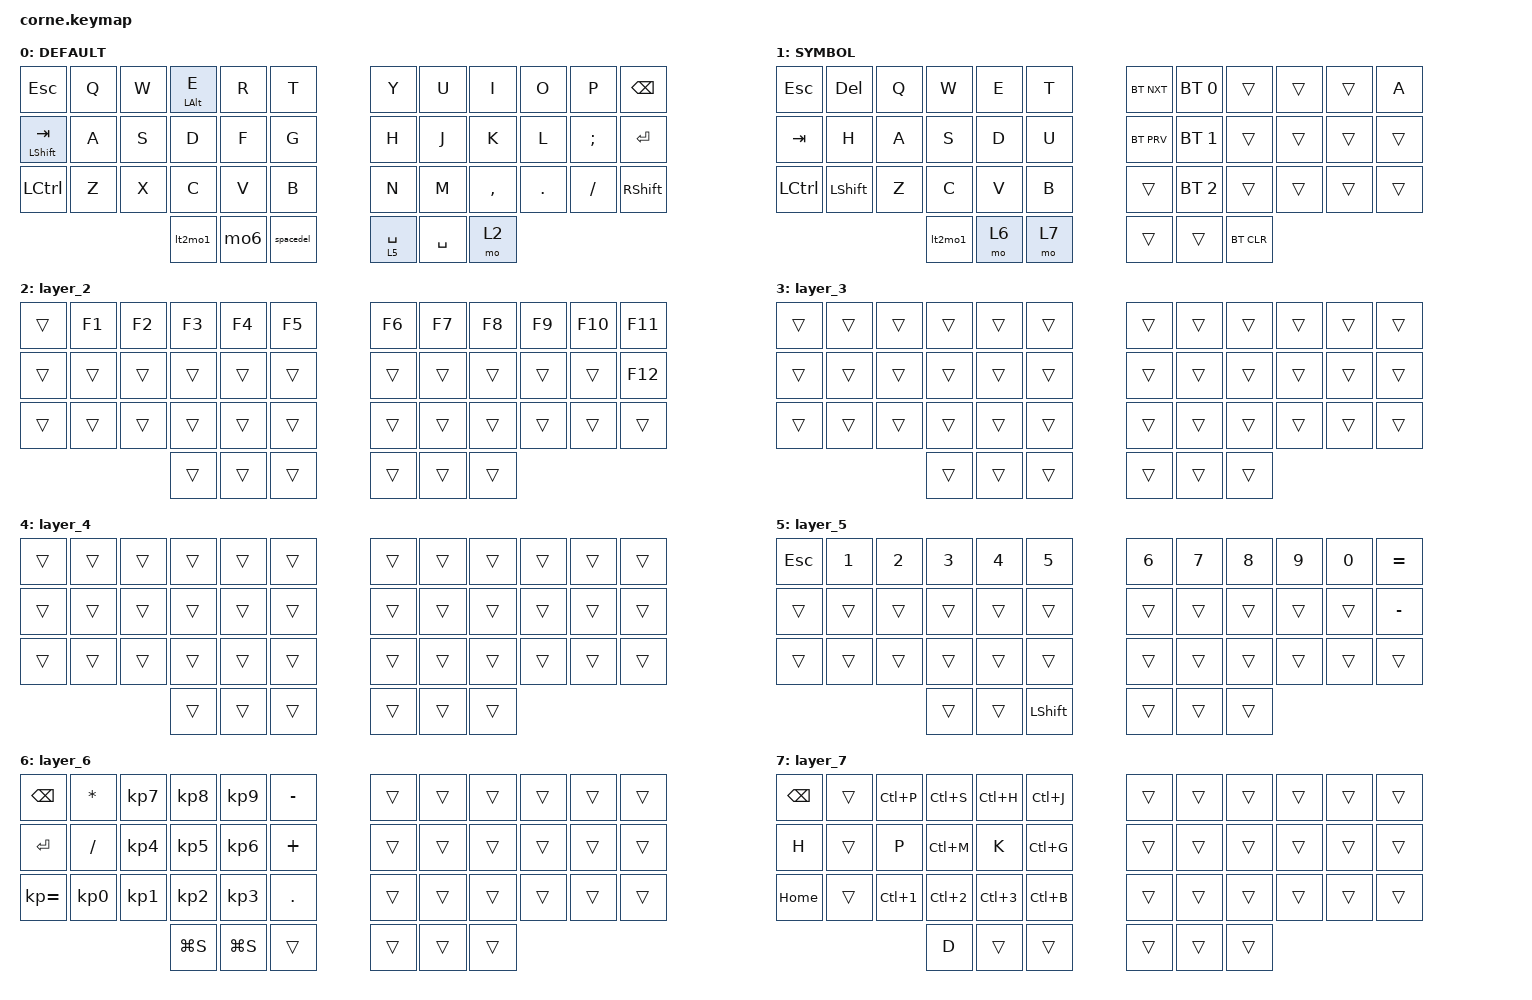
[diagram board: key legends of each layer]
/*
 * Copyright (c) 2020 The ZMK Contributors
 *
 * SPDX-License-Identifier: MIT
 */

#include <behaviors.dtsi>
#include <dt-bindings/zmk/bt.h>
#include <dt-bindings/zmk/keys.h>

#define DEFAULT 0
#define SYMBOL  1
#define NUMBER  2
#define SETTING 3

/ {
    combos {
        compatible = "zmk,combos";

        rt {
            bindings = <&kp LEFT_PARENTHESIS>;
            key-positions = <4 5>;
            layers = <0>;
            timeout-ms = <50>;
        };

        yu {
            bindings = <&kp RIGHT_PARENTHESIS>;
            key-positions = <6 7>;
            layers = <0>;
            timeout-ms = <50>;
        };

        fg {
            bindings = <&kp LEFT_BRACKET>;
            key-positions = <16 17>;
            layers = <0>;
            timeout-ms = <50>;
        };

        hj {
            bindings = <&kp RIGHT_BRACKET>;
            key-positions = <18 19>;
            layers = <0>;
            timeout-ms = <50>;
        };

        vb {
            bindings = <&kp LEFT_BRACE>;
            key-positions = <28 29>;
            layers = <0>;
            timeout-ms = <50>;
        };

        nm {
            bindings = <&kp RIGHT_BRACE>;
            key-positions = <30 31>;
            layers = <0>;
            timeout-ms = <50>;
        };

        cv {
            bindings = <&kp PIPE>;
            key-positions = <27 28>;
            layers = <0>;
            timeout-ms = <50>;
        };

        m_ {
            bindings = <&kp BSLH>;
            key-positions = <31 32>;
            layers = <0>;
            timeout-ms = <50>;
        };
    };

    macros {
        phone: phone {
            compatible = "zmk,behavior-macro";
            label = "m_phone";
            #binding-cells = <0>;
            bindings = <&kp NUMBER_1 &kp NUMBER_8 &kp NUMBER_5 &kp NUMBER_6 &kp NUMBER_8 &kp NUMBER_2 &kp NUMBER_7 &kp NUMBER_6 &kp NUMBER_1 &kp NUMBER_9 &kp NUMBER_6>;
        };
        email: email {
            compatible = "zmk,behavior-macro";
            label = "m_email";
            #binding-cells = <0>;
            bindings = <&kp K &kp U &kp O &kp L &kp E &kp M &kp A &kp X &kp AT &kp Q &kp Q &kp DOT &kp C &kp O &kp M>;
        };
        gmail: gmail {
            compatible = "zmk,behavior-macro";
            label = "m_gmail";
            #binding-cells = <0>;
            bindings = <&kp C &kp H &kp E &kp N &kp Z &kp H &kp I &kp H &kp A &kp O &kp NUMBER_0 &kp NUMBER_1 &kp NUMBER_2 &kp NUMBER_6 &kp AT &kp G &kp M &kp A &kp I &kp L &kp DOT &kp C &kp O &kp M>;
        };
    };

    behaviors {
        lt2mo1: lt2mo1 {
            compatible = "zmk,behavior-tap-dance";
            label = "LT2MO1";
            #binding-cells = <0>;
            bindings =
                <&to 0>,
                <&to 1>;

            tapping-term-ms = <180>;
        };
        spacedel: spacedel {
            compatible = "zmk,behavior-tap-dance";
            label = "SPACEDEL";
            #binding-cells = <0>;
            bindings =
                <&kp SPACE>,
                <&kp DEL>;

            tapping-term-ms = <180>;
        };
        laltguidtog1: laltguidtog1 {
            compatible = "zmk,behavior-tap-dance";
            label = "LALTGUIDTOG1";
            #binding-cells = <0>;
            bindings =
                <&mt LALT LG(D)>,
                <&tog 1>;

            tapping-term-ms = <180>;
        };
        mo6: mo6 {
            compatible = "zmk,behavior-tap-dance";
            label = "MO6";
            #binding-cells = <0>;
            bindings = <&mo 6>;
            tapping-term-ms = <50>;
        };
        elate: elate {
            compatible = "zmk,behavior-tap-dance";
            label = "ELATE";
            #binding-cells = <0>;
            bindings =
                <&kp E>,
                <&kp NUMBER_0>,
                <&kp NUMBER_0>,
                <&kp LALT>;

            tapping-term-ms = <200>;
        };
    };

    keymap {
        compatible = "zmk,keymap";

        DEFAULT {
            // -----------------------------------------------------------------------------------------
            // | TAB  |  Q  |  W  |  E  |  R       |  T  |     |  Y  |  U        |  I  |  O  |  P  |   BKSP    |
            // | SHFT |  A  |  S  |  D  |  F       |  G  |     |  H  |  J        |  K  |  L  |  ;  |     '     |
            // | CTRL |  Z  |  X  |  C  |  V       |  B  |     |  N  |  M        |  ,  |  .  |  /  | SHFT(RET) |
            //                    | GUI | SPC(NUM) | ALT |     | ENT | SPC(SYM)  | ALT |

            label = "DEFAULT";
            bindings = <
       &kp ESC  &kp Q  &kp W  &mt LALT E  &kp R      &kp T          &kp Y      &kp U      &kp I    &kp O          &kp P  &kp BACKSPACE
&mt LSHIFT TAB  &kp A  &kp S       &kp D  &kp F      &kp G          &kp H      &kp J      &kp K    &kp L  &kp SEMICOLON      &kp ENTER
     &kp LCTRL  &kp Z  &kp X       &kp C  &kp V      &kp B          &kp N      &kp M  &kp COMMA  &kp DOT      &kp SLASH     &kp RSHIFT
                                 &lt2mo1   &mo6  &spacedel    &lt 5 SPACE  &kp SPACE      &mo 2
            >;
        };

        SYMBOL {
            // -----------------------------------------------------------------------------------------
            // | ESC  |  !  |  @  |  #  |  $  |  %  |     |  ^   |  &   |  *   |  (   |  )  | DEL |
            // |      | CAPS|     |  {  |  }  | "|" |     | LEFT | DOWN |  UP  | RGT  |  :  |  "  |
            // |      |     |     |     |  `  |  ~  |     | HOME | END  | PGUP | PGDN | INS | ALT |
            //                    |     | SET |     |     |      |      |      |

            label = "SYMBOL";
            bindings = <
  &kp ESC     &kp DEL  &kp Q    &kp W  &kp E  &kp T    &bt BT_NXT  &bt BT_SEL 0      &trans  &trans  &trans   &kp A
  &kp TAB       &kp H  &kp A    &kp S  &kp D  &kp U    &bt BT_PRV  &bt BT_SEL 1      &trans  &trans  &trans  &trans
&kp LCTRL  &kp LSHIFT  &kp Z    &kp C  &kp V  &kp B        &trans  &bt BT_SEL 2      &trans  &trans  &trans  &trans
                              &lt2mo1  &mo 6  &mo 7        &trans        &trans  &bt BT_CLR
            >;
        };

        layer_2 {
            bindings = <
&trans  &kp F1  &kp F2  &kp F3  &kp F4  &kp F5    &kp F6  &kp F7  &kp F8  &kp F9  &kp F10  &kp F11
&trans  &trans  &trans  &trans  &trans  &trans    &trans  &trans  &trans  &trans   &trans  &kp F12
&trans  &trans  &trans  &trans  &trans  &trans    &trans  &trans  &trans  &trans   &trans   &trans
                        &trans  &trans  &trans    &trans  &trans  &trans
            >;
        };

        layer_3 {
            bindings = <
&trans  &trans  &trans  &trans  &trans  &trans    &trans  &trans  &trans  &trans  &trans  &trans
&trans  &trans  &trans  &trans  &trans  &trans    &trans  &trans  &trans  &trans  &trans  &trans
&trans  &trans  &trans  &trans  &trans  &trans    &trans  &trans  &trans  &trans  &trans  &trans
                        &trans  &trans  &trans    &trans  &trans  &trans
            >;
        };

        layer_4 {
            bindings = <
&trans  &trans  &trans  &trans  &trans  &trans    &trans  &trans  &trans  &trans  &trans  &trans
&trans  &trans  &trans  &trans  &trans  &trans    &trans  &trans  &trans  &trans  &trans  &trans
&trans  &trans  &trans  &trans  &trans  &trans    &trans  &trans  &trans  &trans  &trans  &trans
                        &trans  &trans  &trans    &trans  &trans  &trans
            >;
        };

        layer_5 {
            bindings = <
&kp ESC  &kp NUMBER_1  &kp NUMBER_2  &kp NUMBER_3  &kp NUMBER_4  &kp NUMBER_5    &kp NUMBER_6  &kp NUMBER_7  &kp NUMBER_8  &kp NUMBER_9  &kp NUMBER_0  &kp EQUAL
 &trans        &trans        &trans        &trans        &trans        &trans          &trans        &trans        &trans        &trans        &trans  &kp MINUS
 &trans        &trans        &trans        &trans        &trans        &trans          &trans        &trans        &trans        &trans        &trans     &trans
                                           &trans        &trans     &kp LSHFT          &trans        &trans        &trans
            >;
        };

        layer_6 {
            bindings = <
&kp BACKSPACE     &kp ASTERISK  &kp KP_NUMBER_7  &kp KP_NUMBER_8  &kp KP_NUMBER_9  &kp MINUS    &trans  &trans  &trans  &trans  &trans  &trans
    &kp ENTER        &kp SLASH  &kp KP_NUMBER_4  &kp KP_NUMBER_5  &kp KP_NUMBER_6   &kp PLUS    &trans  &trans  &trans  &trans  &trans  &trans
 &kp KP_EQUAL  &kp KP_NUMBER_0  &kp KP_NUMBER_1  &kp KP_NUMBER_2  &kp KP_NUMBER_3    &kp DOT    &trans  &trans  &trans  &trans  &trans  &trans
                                                       &kp LG(S)        &kp LG(S)     &trans    &trans  &trans  &trans
            >;
        };

        layer_7 {
            bindings = <
&kp BACKSPACE  &trans         &kp LC(P)         &kp LC(S)         &kp LC(H)  &kp LC(J)    &trans  &trans  &trans  &trans  &trans  &trans
        &kp H  &trans             &kp P         &kp LC(M)             &kp K  &kp LC(G)    &trans  &trans  &trans  &trans  &trans  &trans
     &kp HOME  &trans  &kp LC(NUMBER_1)  &kp LC(NUMBER_2)  &kp LC(NUMBER_3)  &kp LC(B)    &trans  &trans  &trans  &trans  &trans  &trans
                                                    &kp D            &trans     &trans    &trans  &trans  &trans
            >;
        };
    };
};
